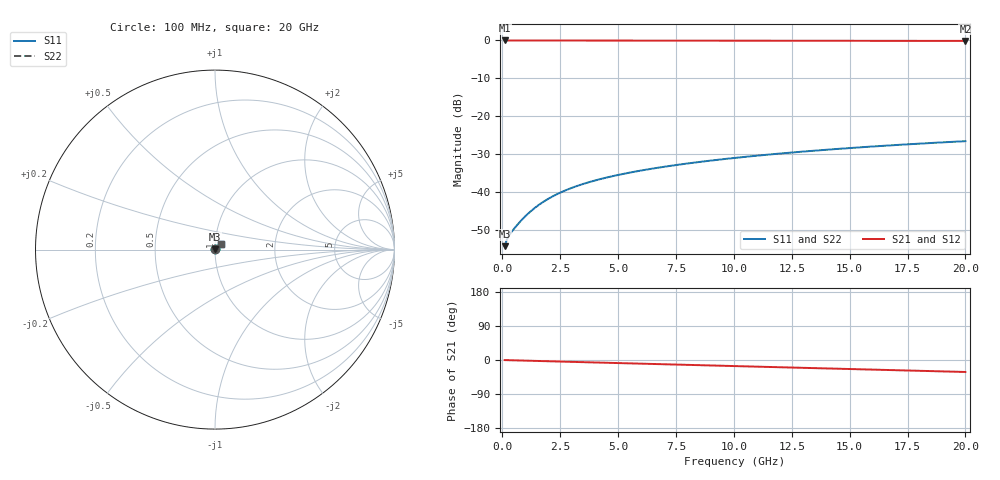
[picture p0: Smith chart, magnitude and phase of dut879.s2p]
! Touchstone file exported from HFSS 2026.1.0
!  File:  C:/ffzhzh/LocalFiles/Ansys_Project_Files/temp_train_BSMRDL_879_1783171026_51560.aedt
!  Generated:  09:18:13 PM Jul  4, 2026
!  Design:  BSMRDL
!  Project:  temp_train_BSMRDL_879_1783171026_51560
! Variables:
!  h_bsmrdl = 5.5um
!  h_ox = 20um
!  h_rdl = 5um
!  h_sub = 80um
!  h_tmrdl = 5um
!  h_tsv = 80um
!  h_via = 3um
!  l_bsmrdl = 562.01um
!  l_sub = 962.01um
!  l_tmrdl = 200um
!  m_sub = 200um
!  pitch = 29.97um
!  r_tsv = 6um
!  s_tmrdl = 10um
!  w_bsmrdl = 23.25um
!  w_sub = 500um
!  w_tmrdl = 12um
!  x_tsv_center1 = 206um
!  x_tsv_center2 = 791.26um
!  x_tsv_center3 = 1003.26um
!  x_tsv_center4 = 1588.52um
!  x_tsv_center5 = 1800.52um
!  x_tsv_center6 = 2385.78um
# GHz S MA R 50.000000
! Terminal data exported
! Port[1] = BSM_RDL1_1_T1
! Port[2] = BSM_RDL1_1_T2
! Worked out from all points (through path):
!   200 points, 100 MHz to 20 GHz, reference 50 ohm
!   highest |S21| = -0.02 dB at 100 MHz (marker M1); lowest = -0.1 dB at 20 GHz (marker M2)
!   group delay of S21, straight-line fit = 4.37 ps
!   lowest |S11| = -54.1 dB at 100 MHz (marker M3), VSWR 1.00, Z = 50.2 + j0.0742 ohm
!   |S11| at or under -10 dB: start of sweep to end of sweep
!   |S22| runs from -54.1 to -26.5 dB; largest |S21 - S12| = 6.5e-15
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0.1  0.001966 22.1  0.9982 -0.2  0.9982 -0.2  0.001966 22.1
! Gamma 0 0 0 0
! Port Impedance 50 0 50 0
0.2  0.002413 29.6  0.9979 -0.4  0.9979 -0.4  0.002407 29.5
0.3  0.002746 34.0  0.9977 -0.5  0.9977 -0.5  0.002732 34.0
0.5  0.003314 41.7  0.9974 -0.9  0.9974 -0.9  0.003298 41.8
0.8  0.004226 50.2  0.9972 -1.3  0.9972 -1.3  0.004216 50.4
1  0.004883 54.0  0.9971 -1.7  0.9971 -1.7  0.004878 54.2
1.2  0.005562 56.7  0.9969 -2.0  0.9969 -2.0  0.005561 56.9
1.4  0.006251 58.5  0.9968 -2.3  0.9968 -2.3  0.006253 58.7
1.8  0.007625 60.6  0.9965 -3.0  0.9965 -3.0  0.007631 60.7
2.3  0.009292 61.6  0.996 -3.8  0.996 -3.8  0.009299 61.7
2.9  0.01119 61.8  0.9955 -4.8  0.9955 -4.8  0.01119 61.8
3.5  0.01296 61.4  0.9949 -5.7  0.9949 -5.7  0.01296 61.4
4.2  0.01491 60.7  0.9942 -6.9  0.9942 -6.9  0.0149 60.8
4.9  0.01674 60.0  0.9936 -8.0  0.9936 -8.0  0.01673 60.0
5.8  0.01897 59.0  0.9928 -9.4  0.9928 -9.4  0.01896 59.1
6.8  0.02134 57.9  0.9921 -11.0  0.9921 -11.0  0.02132 58.1
8.3  0.02472 56.3  0.9911 -13.3  0.9911 -13.3  0.0247 56.5
10.1  0.0286 54.4  0.99 -16.1  0.99 -16.1  0.02857 54.6
11.7  0.03191 52.5  0.9892 -18.7  0.9892 -18.7  0.03188 52.8
13.4  0.0353 50.5  0.9883 -21.3  0.9883 -21.3  0.03526 50.8
16.7  0.04153 46.4  0.9867 -26.5  0.9867 -26.5  0.04147 46.8
20  0.04727 42.1  0.9853 -31.6  0.9853 -31.6  0.0472 42.5
